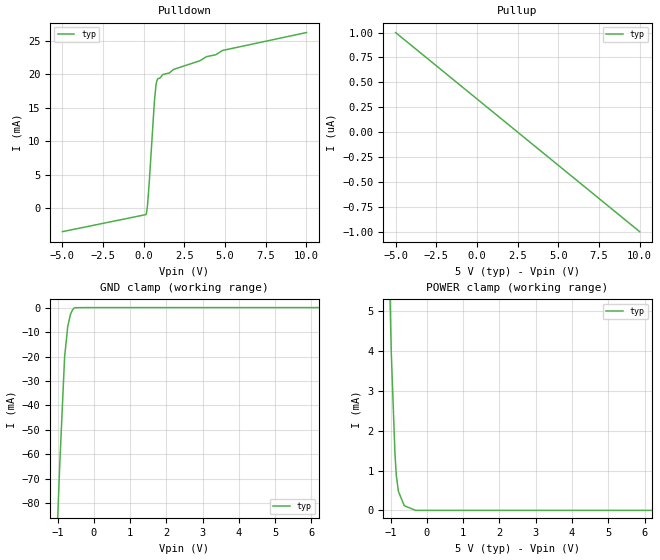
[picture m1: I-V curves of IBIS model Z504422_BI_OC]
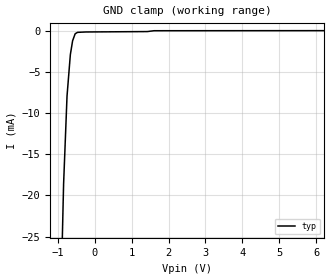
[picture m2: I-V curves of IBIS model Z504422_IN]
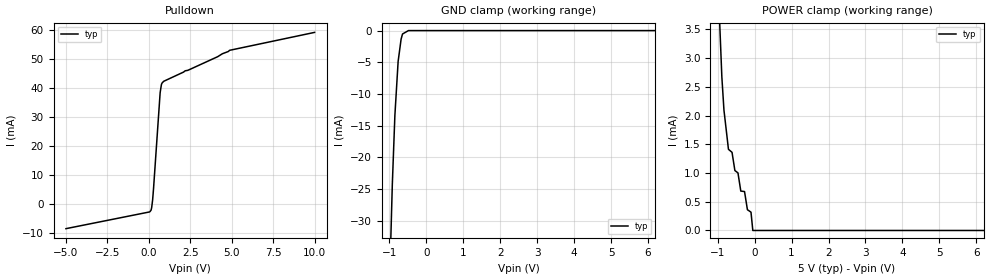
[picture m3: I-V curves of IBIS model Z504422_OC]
| YOU ARE ONLY AUTHORIZED TO USE THIS SOFTWARE
| ACCORDING TO LICENSOR'S LICENSE RESTRICTIONS.
[IBIS Ver] 3.1
[File Name] sn54ls248j.ibs
[File Rev] 2.0
[Source] Measured and created by ICX Technology
[Date] Friday 7/14/00 9:08:14 AM
[Copyright]
| (C) COPYRIGHT 1993-2000
| MENTOR GRAPHICS CORPORATION
| ICX STANDARD LIBRARY, ICX PROJECT MODELING,
| ICX CUSTOM MODELING, ICX VENDOR MODEL
| ALL RIGHTS RESERVED.
| THE FOLLOWING ARE TRADEMARKS OR SERVICE MARKS OF
| MENTOR GRAPHICS CORPORATION:ICX (R), ICX STANDARD
| LIBRARY(R), ICX PROJECT MODELING(R), ICX CUSTOM
| MODELING(R), qualityIBIS(TM), MODELVIEWER(TM),
| AND MODELEDITOR(TM)
| ALL COPIES OF SOFTWARE, INCLUDING BUT NOT LIMITED TO
| ANY MODIFICATIONS, ENHANCEMENTS OR DERIVATIVE WORKS,
| MUST CONTAIN ALL MENTOR GRAPHICS CORPORATION'S
| NOTICES AND LEGENDS, INCLUDING THOSE EMBEDDED IN
| SOFTWARE AND THOSE AFFIXED TO SOFTWARE MEDIUM
| AND CONTAINER, AS RECEIVED FROM MENTOR GRAPHICS
| CORPORATION.
|  ZAP Model Builder 2.7
[Component] SN54LS248J
[Manufacturer] OnSemiconductor
[Package]
| variable   typ   min   max
R_pkg  .212ohms NA NA
L_pkg  4.758nH NA NA
C_pkg  1.944pF NA NA
[Pin] signal_name  model_name  R_pin  L_pin C_pin
1 DB Z504422_IN .224 7.258n 2.683p
2 DC Z504422_IN .216 5.258n 2.19p
3 _LT Z504422_IN .208 3.758n 1.697p
4 _BI_RBO Z504422_BI_OC .2 2.758n 1.204p
5 _RBI Z504422_IN .2 2.758n 1.204p
6 DD Z504422_IN .208 3.758n 1.697p
7 DA Z504422_IN .216 5.258n 2.19p
8 GND GND .224 7.258n 2.683p
9 E Z504422_OC .224 7.258n 2.683p
10 D Z504422_OC .216 5.258n 2.19p
11 C Z504422_OC .208 3.758n 1.697p
12 B Z504422_OC .2 2.758n 1.204p
13 A Z504422_OC .2 2.758n 1.204p
14 G Z504422_OC .208 3.758n 1.697p
15 F Z504422_OC .216 5.258n 2.19p
16 VCC POWER .224 7.258n 2.683p
| Models and submodels in the file (3): Z504422_BI_OC (I/O_open_sink), Z504422_IN (Input), Z504422_OC (Open_sink)
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| (C) COPYRIGHT 1993-2000
| MENTOR GRAPHICS CORPORATION
| ICX STANDARD LIBRARY, ICX PROJECT MODELING,
| ICX CUSTOM MODELING, ICX VENDOR MODEL
| ALL RIGHTS RESERVED.
| THE FOLLOWING ARE TRADEMARKS OR SERVICE MARKS OF
| MENTOR GRAPHICS CORPORATION:ICX (R), ICX STANDARD
| LIBRARY(R), ICX PROJECT MODELING(R), ICX CUSTOM
| MODELING(R), qualityIBIS(TM), MODELVIEWER(TM),
| AND MODELEDITOR(TM)
| ALL COPIES OF SOFTWARE, INCLUDING BUT NOT LIMITED TO
| ANY MODIFICATIONS, ENHANCEMENTS OR DERIVATIVE WORKS,
| MUST CONTAIN ALL MENTOR GRAPHICS CORPORATION'S
| NOTICES AND LEGENDS, INCLUDING THOSE EMBEDDED IN
| SOFTWARE AND THOSE AFFIXED TO SOFTWARE MEDIUM
| AND CONTAINER, AS RECEIVED FROM MENTOR GRAPHICS
| CORPORATION.
| Model Application Version 1.89 2/18/99.
[Model] Z504422_BI_OC
Model_type I/O_open_sink
Vinl=800.0mV
Vinh=2.000V
Vref=5.000V
Rref=667.0ohms
Cref=45.00pF
Vmeas=1.300V
C_comp 8.000pF NA NA
| variable typ   min   max
[Voltage Range] 5.000V NA NA
[POWER Clamp Reference] 5.000V NA NA
[Pullup Reference] 5.000V NA NA
[Pulldown Reference] 0.000V NA NA
[GND Clamp Reference] 0.000V NA NA
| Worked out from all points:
|   slope of the pulldown table from 0 to 0.75 V, typ, clamps not added: 38.6 ohm
|   GND clamp passes 1 mA (typ) near -0.59 V on its own axis
|   POWER clamp passes 1 mA (typ) near -0.85 V on its own axis
[GND Clamp]
-5V       -1.62A     NA         NA
-937.5mV  -63.75mA   NA         NA
-805.1mV  -20.22mA   NA         NA
-719.5mV  -7.837mA   NA         NA
-642.6mV  -2.712mA   NA         NA
-585.9mV  -963.1uA   NA         NA
-547.1mV  -250uA     NA         NA
-527.9mV  -72.37uA   NA         NA
-263.9mV  0A         NA         NA
10V       0A         NA         NA
[Pulldown]
-5V       -3.462mA   NA         NA
132mV     -916.3uA   NA         NA
170.9mV   -590.5uA   NA         NA
229.4mV   532.2uA    NA         NA
327.1mV   3.656mA    NA         NA
649.4mV   15.92mA    NA         NA
749.3mV   18.44mA    NA         NA
844.7mV   19.33mA    NA         NA
1.823V    20.74mA    NA         NA
4.429V    22.94mA    NA         NA
4.828V    23.57mA    NA         NA
10V       26.25mA    NA         NA
[Pullup]
-5V       1uA        NA         NA
10V       -1uA       NA         NA
[POWER Clamp]
-5V       196.6mA    NA         NA
-1.113V   8.974mA    NA         NA
-981mV    3.922mA    NA         NA
-881mV    1.414mA    NA         NA
-844mV    873.2uA    NA         NA
-785mV    473.8uA    NA         NA
-625mV    116.7uA    NA         NA
-312.5mV  0A         NA         NA
10V       0A         NA         NA
[Ramp]
| variable typ min max
dV/dt_r 2.580/18.85n NA NA
dV/dt_f 2.580/7.592n NA NA
R_load = 250.0Ohms
| (C) COPYRIGHT 1993-2000
| MENTOR GRAPHICS CORPORATION
| ICX STANDARD LIBRARY, ICX PROJECT MODELING,
| ICX CUSTOM MODELING, ICX VENDOR MODEL
| ALL RIGHTS RESERVED.
| THE FOLLOWING ARE TRADEMARKS OR SERVICE MARKS OF
| MENTOR GRAPHICS CORPORATION:ICX (R), ICX STANDARD
| LIBRARY(R), ICX PROJECT MODELING(R), ICX CUSTOM
| MODELING(R), qualityIBIS(TM), MODELVIEWER(TM),
| AND MODELEDITOR(TM)
| ALL COPIES OF SOFTWARE, INCLUDING BUT NOT LIMITED TO
| ANY MODIFICATIONS, ENHANCEMENTS OR DERIVATIVE WORKS,
| MUST CONTAIN ALL MENTOR GRAPHICS CORPORATION'S
| NOTICES AND LEGENDS, INCLUDING THOSE EMBEDDED IN
| SOFTWARE AND THOSE AFFIXED TO SOFTWARE MEDIUM
| AND CONTAINER, AS RECEIVED FROM MENTOR GRAPHICS
| CORPORATION.
| Model Application Version 1.89 2/18/99.
[Model] Z504422_IN
Model_type Input
Vinl = 800.0mV
Vinh = 2.000V
C_comp 4.000pF NA NA
| variable typ   min   max
[Voltage Range] 5.000V NA NA
[GND Clamp Reference] 0.000V NA NA
[POWER Clamp Reference] 5.000V NA NA
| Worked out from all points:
|   GND clamp passes 1 mA (typ) near -0.58 V on its own axis
[GND Clamp]
-5V       -811.4mA   NA         NA
-839.8mV  -18.66mA   NA         NA
-747mV    -7.955mA   NA         NA
-656.9mV  -2.912mA   NA         NA
-595.7mV  -1.227mA   NA         NA
-527.3mV  -383.6uA   NA         NA
-464.2mV  -207.2uA   NA         NA
-232.1mV  -159.8uA   NA         NA
1.426V    -111.6uA   NA         NA
1.606V    -9.066uA   NA         NA
10V       9.452uA    NA         NA
[POWER Clamp]
-5V       0A         NA         NA
10V       0A         NA         NA
| (C) COPYRIGHT 1993-2000
| MENTOR GRAPHICS CORPORATION
| ICX STANDARD LIBRARY, ICX PROJECT MODELING,
| ICX CUSTOM MODELING, ICX VENDOR MODEL
| ALL RIGHTS RESERVED.
| THE FOLLOWING ARE TRADEMARKS OR SERVICE MARKS OF
| MENTOR GRAPHICS CORPORATION:ICX (R), ICX STANDARD
| LIBRARY(R), ICX PROJECT MODELING(R), ICX CUSTOM
| MODELING(R), qualityIBIS(TM), MODELVIEWER(TM),
| AND MODELEDITOR(TM)
| ALL COPIES OF SOFTWARE, INCLUDING BUT NOT LIMITED TO
| ANY MODIFICATIONS, ENHANCEMENTS OR DERIVATIVE WORKS,
| MUST CONTAIN ALL MENTOR GRAPHICS CORPORATION'S
| NOTICES AND LEGENDS, INCLUDING THOSE EMBEDDED IN
| SOFTWARE AND THOSE AFFIXED TO SOFTWARE MEDIUM
| AND CONTAINER, AS RECEIVED FROM MENTOR GRAPHICS
| CORPORATION.
| Model Application Version 1.89 2/18/99.
[Model] Z504422_OC
Model_type Open_sink
Vref=5.000V
Rref=2.001kohms
Cref=15.00pF
Vmeas=1.300V
C_comp 8.000pF NA NA
| variable typ   min   max
[Voltage Range] 5.000V NA NA
[POWER Clamp Reference] 5.000V NA NA
[Pullup Reference] 5.000V NA NA
[Pulldown Reference] 0.000V NA NA
[GND Clamp Reference] 0.000V NA NA
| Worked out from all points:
|   slope of the pulldown table from 0 to 0.75 V, typ, clamps not added: 17.2 ohm
|   GND clamp passes 1 mA (typ) near -0.66 V on its own axis
|   POWER clamp passes 1 mA (typ) near -0.45 V on its own axis
[GND Clamp]
-5V       -1.034A    NA         NA
-1.08V    -58.27mA   NA         NA
-918mV    -24.25mA   NA         NA
-848.7mV  -13.39mA   NA         NA
-761mV    -4.877mA   NA         NA
-680mV    -1.335mA   NA         NA
-641.6mV  -536.5uA   NA         NA
-481.2mV  0A         NA         NA
10V       0A         NA         NA
[Pulldown]
-5V       -8.625mA   NA         NA
31.59mV   -2.873mA   NA         NA
135.2mV   -2.234mA   NA         NA
170.9mV   -1.386mA   NA         NA
228.7mV   1.261mA    NA         NA
283.1mV   5.121mA    NA         NA
683.6mV   38.34mA    NA         NA
761.9mV   41.14mA    NA         NA
898.4mV   42.2mA     NA         NA
4.16V     50.7mA     NA         NA
4.873V    52.88mA    NA         NA
10V       59.06mA    NA         NA
[POWER Clamp]
-5V       85.62mA    NA         NA
-1.045V   5.217mA    NA         NA
-887mV    2.677mA    NA         NA
-830mV    2.096mA    NA         NA
-708mV    1.413mA    NA         NA
-611mV    1.36mA     NA         NA
-374mV    686uA      NA         NA
-273mV    677.7uA    NA         NA
-195mV    361.8uA    NA         NA
-98mV     318.7uA    NA         NA
-49mV     0A         NA         NA
10V       0A         NA         NA
[Ramp]
| variable typ min max
dV/dt_r 2.735/37.15n NA NA
dV/dt_f 2.735/5.750n NA NA
R_load = 250.0Ohms
